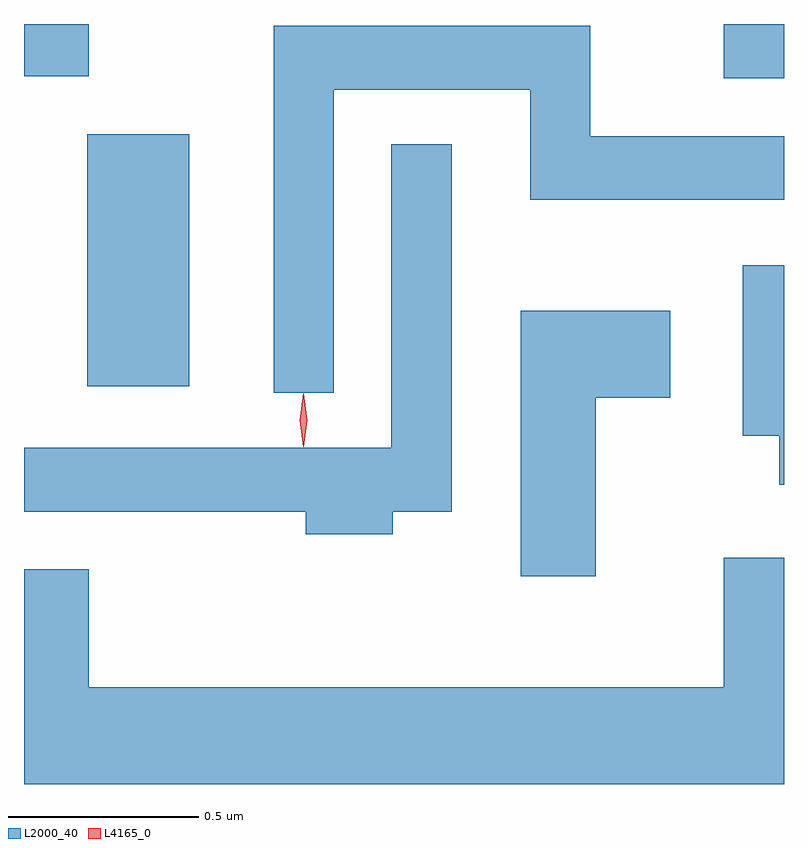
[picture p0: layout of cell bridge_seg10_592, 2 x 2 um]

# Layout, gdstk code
import gdstk
lib = gdstk.Library(unit=1e-6, precision=1e-09)
def R(c, l, rs):  # rectangles x0, y0, x1, y1
    for r in rs: c.add(gdstk.rectangle(r[:2], r[2:], *l))
def P(c, l, *ps):  # polygons
    for p in ps: c.add(gdstk.Polygon(p, *l))
L2000_40 = (2000, 40)
L4165_0 = (4165, 0)

bridge_seg10_592 = lib.new_cell('bridge_seg10_592')
R(bridge_seg10_592, L2000_40, [(793.946,2174.916,794.214,2175.579), (795.621,2175.726,795.779,2175.869), (793.779,2175.731,793.949,2175.869)])
P(bridge_seg10_592, L2000_40, [(794.594,2175.696),(795.111,2175.696),(795.111,2175.406),(795.779,2175.406),(795.779,2175.574),(795.269,2175.574),(795.269,2175.864),(794.436,2175.864),(794.436,2174.898),(794.594,2174.898)],
  [(794.749,2174.586),(794.904,2174.586),(794.904,2175.553),(794.746,2175.553),(794.746,2174.754),(793.779,2174.754),(793.779,2174.586),(794.521,2174.586),(794.521,2174.526),(794.749,2174.526)],
  [(795.779,2175.234),(795.671,2175.234),(795.671,2174.786),(795.766,2174.786),(795.766,2174.656),(795.779,2174.656)],
  [(795.284,2174.886),(795.479,2174.886),(795.479,2175.114),(795.086,2175.114),(795.086,2174.416),(795.284,2174.416)],
  [(795.779,2174.464),(795.621,2174.464),(795.621,2174.124),(793.949,2174.124),(793.949,2174.434),(793.779,2174.434),(793.779,2173.869),(795.779,2173.869)])
P(bridge_seg10_592, L4165_0, [(794.514,2174.757),(794.505,2174.826),(794.514,2174.896),(794.515,2174.896),(794.515,2174.896),(794.525,2174.826),(794.515,2174.757),(794.515,2174.757)],
  [(794.515,2174.759),(794.514,2174.76),(794.505,2174.826),(794.514,2174.892),(794.515,2174.893),(794.515,2174.892),(794.525,2174.826),(794.515,2174.76)])

lib.write_gds('bridge_seg10_592.gds')
